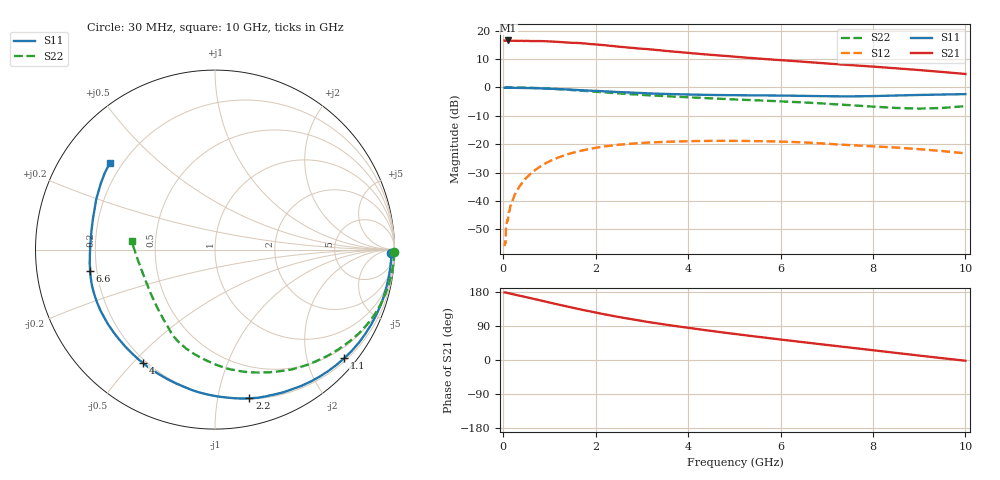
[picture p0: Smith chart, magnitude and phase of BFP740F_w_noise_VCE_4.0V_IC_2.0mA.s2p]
! Infineon Technologies  Discrete & RF Semiconductors
! BFP740F
! VCE =  4.0 V,  IC =  2.0 mA
! Common Emitter S-Parameters:  Oct 2012
# GHz  S  MA  R  50
!  f  S11  S21  S12  S22
! GHz  MAG  ANG  MAG  ANG  MAG  ANG  MAG  ANG
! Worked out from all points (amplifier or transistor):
!   99 points, 30 MHz to 10 GHz, reference 50 ohm
!   highest |S21| = 16.5 dB at 110 MHz (marker M1)
!   |S21| within 3 dB of that: start of sweep to 3.079 GHz
!   unconditionally stable (mu >= 1): 9.398 GHz to end of sweep
!   at 350 MHz: K = 0.03, MSG = 25.7 dB, |S12| = -34.9 dB
!   at 3.5 GHz: K = 0.23, MSG = 16.0 dB, |S12| = -19.2 dB
!   at 10 GHz: K = 1.10, MAG = 12.1 dB, |S12| = -23.2 dB
!   lowest NFmin = 0.37 dB at 450 MHz
!   S11 on the Smith chart (normalised r, x): 30 MHz: 52, -57; 1.1 GHz: 0.26, -2.72; 2.2 GHz: 0.21, -1.24; 4 GHz: 0.19, -0.53; 6.6 GHz: 0.17, -0.08; 10 GHz: 0.15, +0.35
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0.03  0.9828 -1.1  6.639 178.3  0.0016 80.4  0.9984 -0.8
0.05  0.9829 -1.8  6.685 178.1  0.0018 91.7  0.9973 -1.2
0.06  0.982 -2.2  6.64 177.9  0.0033 69.8  0.9984 -1.5
0.11  0.9826 -4.1  6.695 176.4  0.0056 80.4  0.9978 -2.7
0.25  0.98 -9.2  6.607 172.6  0.0129 82.9  0.9947 -6.2
0.4  0.976 -14.7  6.62 168.4  0.0203 79.9  0.9897 -9.9
0.45  0.9751 -16.4  6.544 167.1  0.023 78.7  0.9885 -11.1
0.8  0.9602 -29.3  6.534 157.4  0.0403 70.0  0.9675 -19.7
1.1  0.9406 -40.1  6.372 148.9  0.0543 62.4  0.941 -27.1
1.7  0.8889 -61.0  5.981 132.7  0.077 48.1  0.8716 -41.3
2.2  0.8502 -77.0  5.524 120.3  0.0914 37.1  0.8147 -52.8
2.7  0.8131 -91.0  5.023 109.3  0.1009 27.5  0.764 -62.7
3.4  0.771 -109.0  4.494 95.4  0.1089 16.2  0.7073 -74.8
4  0.7481 -122.5  4.05 84.9  0.1128 7.8  0.67 -83.2
4.6  0.7332 -135.1  3.688 75.1  0.1142 0.1  0.6346 -90.8
5.1  0.7269 -144.9  3.417 67.4  0.1139 -5.9  0.6083 -97.1
5.8  0.7187 -157.1  3.098 57.0  0.1119 -13.8  0.5765 -105.6
6.6  0.7063 -170.3  2.782 45.5  0.1064 -22.6  0.5383 -115.0
6.7  0.7036 -172.0  2.745 44.1  0.1051 -23.6  0.5312 -116.1
7.8  0.6979 168.7  2.385 28.6  0.0934 -31.9  0.4693 -130.5
8.5  0.7187 157.0  2.164 18.7  0.0871 -36.7  0.4341 -145.4
10  0.7597 140.4  1.721 -1.9  0.0689 -45.9  0.4667 174.4
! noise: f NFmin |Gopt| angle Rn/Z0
0.45  0.37  0.55  9  0.3
0.9  0.44  0.56  17  0.26
1.5  0.55  0.55  27  0.24
1.9  0.63  0.52  37  0.24
2.4  0.73  0.49  45  0.24
3.5  0.95  0.44  70  0.23
5.5  1.33  0.35  115  0.23
10  2.08  0.52  -136  0.1
